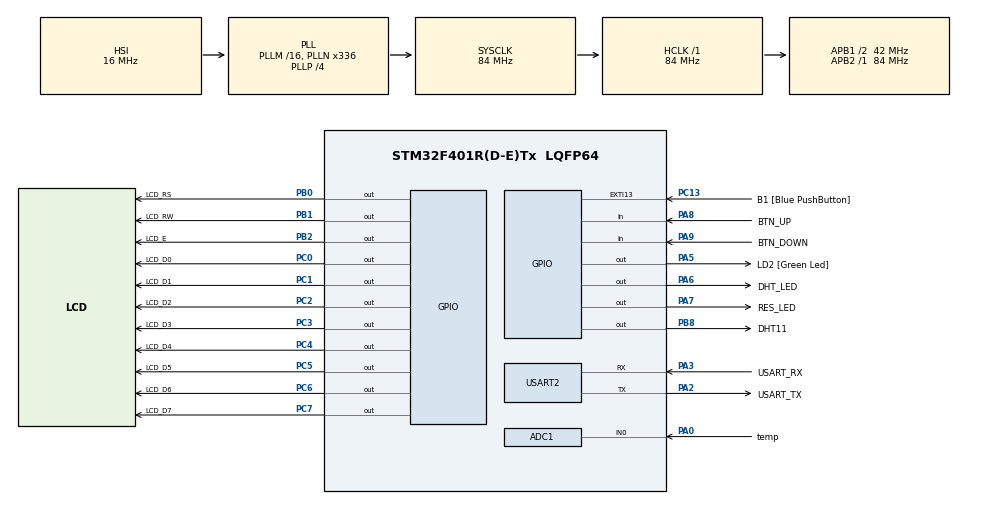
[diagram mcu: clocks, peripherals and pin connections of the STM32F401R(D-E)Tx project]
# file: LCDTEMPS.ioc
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ADC1.Channel-0\#ChannelRegularConversion=ADC_CHANNEL_0
ADC1.NbrOfConversionFlag=1
ADC1.Rank-0\#ChannelRegularConversion=1
ADC1.SamplingTime-0\#ChannelRegularConversion=ADC_SAMPLETIME_480CYCLES
ADC1.master=1
Mcu.Family=STM32F4
Mcu.Name=STM32F401R(D-E)Tx
Mcu.Package=LQFP64
NVIC.PriorityGroup=NVIC_PRIORITYGROUP_0
PA0-WKUP.GPIO_Label=temp
PA0-WKUP.Signal=ADCx_IN0
PA13.GPIO_Label=TMS
PA13.Mode=Serial_Wire
PA13.Signal=SYS_JTMS-SWDIO
PA14.GPIO_Label=TCK
PA14.Mode=Serial_Wire
PA14.Signal=SYS_JTCK-SWCLK
PA2.GPIO_Label=USART_TX
PA2.GPIO_Mode=GPIO_MODE_AF_PP
PA2.GPIO_PuPd=GPIO_NOPULL
PA2.GPIO_Speed=GPIO_SPEED_FREQ_LOW
PA2.Mode=Asynchronous
PA2.Signal=USART2_TX
PA3.GPIO_Label=USART_RX
PA3.GPIO_Mode=GPIO_MODE_AF_PP
PA3.GPIO_PuPd=GPIO_NOPULL
PA3.GPIO_Speed=GPIO_SPEED_FREQ_LOW
PA3.Mode=Asynchronous
PA3.Signal=USART2_RX
PA5.GPIO_Label=LD2 [Green Led]
PA5.GPIO_Mode=GPIO_MODE_OUTPUT_PP
PA5.GPIO_PuPd=GPIO_NOPULL
PA5.GPIO_Speed=GPIO_SPEED_FREQ_LOW
PA5.Signal=GPIO_Output
PA6.GPIO_Label=DHT_LED
PA6.Signal=GPIO_Output
PA7.GPIO_Label=RES_LED
PA7.Signal=GPIO_Output
PA8.GPIO_Label=BTN_UP
PA8.GPIO_PuPd=GPIO_PULLUP
PA8.Signal=GPIO_Input
PA9.GPIO_Label=BTN_DOWN
PA9.GPIO_PuPd=GPIO_PULLUP
PA9.Signal=GPIO_Input
PB0.GPIO_Label=LCD_RS
PB0.Signal=GPIO_Output
PB1.GPIO_Label=LCD_RW
PB1.Signal=GPIO_Output
PB2.GPIO_Label=LCD_E
PB2.Signal=GPIO_Output
PB3.GPIO_Label=SWO
PB3.Signal=SYS_JTDO-SWO
PB8.GPIO_Label=DHT11
PB8.GPIO_ModeDefaultOutputPP=GPIO_MODE_OUTPUT_OD
PB8.GPIO_PuPd=GPIO_PULLUP
PB8.Signal=GPIO_Output
PC0.GPIO_Label=LCD_D0
PC0.Signal=GPIO_Output
PC1.GPIO_Label=LCD_D1
PC1.Signal=GPIO_Output
PC13-ANTI_TAMP.GPIO_Label=B1 [Blue PushButton]
PC13-ANTI_TAMP.GPIO_ModeDefaultEXTI=GPIO_MODE_IT_FALLING
PC13-ANTI_TAMP.GPIO_PuPd=GPIO_NOPULL
PC13-ANTI_TAMP.Signal=GPXTI13
PC14-OSC32_IN.Mode=LSE-External-Oscillator
PC14-OSC32_IN.Signal=RCC_OSC32_IN
PC15-OSC32_OUT.Mode=LSE-External-Oscillator
PC15-OSC32_OUT.Signal=RCC_OSC32_OUT
PC2.GPIO_Label=LCD_D2
PC2.Signal=GPIO_Output
PC3.GPIO_Label=LCD_D3
PC3.Signal=GPIO_Output
PC4.GPIO_Label=LCD_D4
PC4.Signal=GPIO_Output
PC5.GPIO_Label=LCD_D5
PC5.Signal=GPIO_Output
PC6.GPIO_Label=LCD_D6
PC6.Signal=GPIO_Output
PC7.GPIO_Label=LCD_D7
PC7.Signal=GPIO_Output
PH0\ -\ OSC_IN.Mode=HSE-External-Clock-Source
PH0\ -\ OSC_IN.Signal=RCC_OSC_IN
PH1\ -\ OSC_OUT.Mode=HSE-External-Clock-Source
PH1\ -\ OSC_OUT.Signal=RCC_OSC_OUT
ProjectManager.HeapSize=0x200
ProjectManager.StackSize=0x400
ProjectManager.TargetToolchain=TrueSTUDIO
RCC.48MHZClocksFreq_Value=48000000
RCC.AHBFreq_Value=84000000
RCC.APB1CLKDivider=RCC_HCLK_DIV2
RCC.APB1Freq_Value=42000000
RCC.APB1TimFreq_Value=84000000
RCC.APB2Freq_Value=84000000
RCC.APB2TimFreq_Value=84000000
RCC.CortexFreq_Value=84000000
RCC.HCLKFreq_Value=84000000
RCC.HSE_VALUE=8000000
RCC.HSI_VALUE=16000000
RCC.PLLN=336
RCC.PLLP=RCC_PLLP_DIV4
RCC.PLLQ=7
RCC.SYSCLKFreq_VALUE=84000000
RCC.SYSCLKSource=RCC_SYSCLKSOURCE_PLLCLK
RCC.VCOOutputFreq_Value=336000000
SH.ADCx_IN0.0=ADC1_IN0,IN0
USART2.VirtualMode=VM_ASYNC
board=NUCLEO-F401RE

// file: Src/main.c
/**
  ******************************************************************************
  * @file           : main.c
  * @brief          : Main program body
  ******************************************************************************
  ** This notice applies to any and all portions of this file
  * that are not between comment pairs USER CODE BEGIN and
  * USER CODE END. Other portions of this file, whether
  * inserted by the user or by software development tools
  * are owned by their respective copyright owners.
  *
  * COPYRIGHT(c) 2018 STMicroelectronics
  *
  * Redistribution and use in source and binary forms, with or without modification,
  * are permitted provided that the following conditions are met:
  *   1. Redistributions of source code must retain the above copyright notice,
  *      this list of conditions and the following disclaimer.
  *   2. Redistributions in binary form must reproduce the above copyright notice,
  *      this list of conditions and the following disclaimer in the documentation
  *      and/or other materials provided with the distribution.
  *   3. Neither the name of STMicroelectronics nor the names of its contributors
  *      may be used to endorse or promote products derived from this software
  *      without specific prior written permission.
  *
  * THIS SOFTWARE IS PROVIDED BY THE COPYRIGHT HOLDERS AND CONTRIBUTORS "AS IS"
  * AND ANY EXPRESS OR IMPLIED WARRANTIES, INCLUDING, BUT NOT LIMITED TO, THE
  * IMPLIED WARRANTIES OF MERCHANTABILITY AND FITNESS FOR A PARTICULAR PURPOSE ARE
  * DISCLAIMED. IN NO EVENT SHALL THE COPYRIGHT HOLDER OR CONTRIBUTORS BE LIABLE
  * FOR ANY DIRECT, INDIRECT, INCIDENTAL, SPECIAL, EXEMPLARY, OR CONSEQUENTIAL
  * DAMAGES (INCLUDING, BUT NOT LIMITED TO, PROCUREMENT OF SUBSTITUTE GOODS OR
  * SERVICES; LOSS OF USE, DATA, OR PROFITS; OR BUSINESS INTERRUPTION) HOWEVER
  * CAUSED AND ON ANY THEORY OF LIABILITY, WHETHER IN CONTRACT, STRICT LIABILITY,
  * OR TORT (INCLUDING NEGLIGENCE OR OTHERWISE) ARISING IN ANY WAY OUT OF THE USE
  * OF THIS SOFTWARE, EVEN IF ADVISED OF THE POSSIBILITY OF SUCH DAMAGE.
  *
  ******************************************************************************
  */
#include "main.h"
#include "stm32f4xx_hal.h"

/* USER CODE BEGIN Includes */
#include "LCDHelper.h"
/* USER CODE END Includes */

ADC_HandleTypeDef hadc1;

UART_HandleTypeDef huart2;

/* USER CODE BEGIN PV */
/* Private variables ---------------------------------------------------------*/
TextLCDType lcd;
uint8_t pData[40];
uint16_t tempData;

uint16_t DHT11_timeout = 10000;
int16_t DHT11_buff_raw[41];
uint8_t DHT11_data[5];

int8_t set_temp = 0;
/* USER CODE END PV */

void SystemClock_Config(void);
static void MX_GPIO_Init(void);
static void MX_USART2_UART_Init(void);
static void MX_ADC1_Init(void);

/* USER CODE BEGIN PFP */
/* Private function prototypes -----------------------------------------------*/

int16_t Read_Analog_Temp(){
	HAL_ADC_Start(&hadc1);
	if(HAL_ADC_PollForConversion(&hadc1, HAL_MAX_DELAY) == HAL_OK){
		tempData = HAL_ADC_GetValue(&hadc1);
	}

	int16_t temp = 0;

	temp = tempData * 10000;

	temp = 3450*((1/(double)temp) - (1/298.15));
	return tempData;
}

int16_t Read_DHT11_bit_raw(){
	uint16_t cnt_low = 0;

	while(HAL_GPIO_ReadPin(DHT11_GPIO_Port, DHT11_Pin) == 0){
		cnt_low++;
		if(cnt_low >= DHT11_timeout)
			return DHT11_timeout;
	}
	uint16_t cnt_high = 0;

	while(HAL_GPIO_ReadPin(DHT11_GPIO_Port, DHT11_Pin) == 1){
		cnt_high++;
		if(cnt_high >= DHT11_timeout)
			return DHT11_timeout;
	}

	return cnt_high-cnt_low;
}

int16_t Read_DHT11(){
	uint16_t cnt;

	HAL_Delay(100);
	HAL_GPIO_WritePin(DHT11_GPIO_Port, DHT11_Pin, 0);
	HAL_Delay(20);
	HAL_GPIO_WritePin(DHT11_GPIO_Port, DHT11_Pin, 1);

	while(HAL_GPIO_ReadPin(DHT11_GPIO_Port, DHT11_Pin) == 1){
		cnt++;
		if(cnt > DHT11_timeout){
			return -99;
		}
	}

	for(uint8_t k = 0; k < 41; k++){
		DHT11_buff_raw[k] = Read_DHT11_bit_raw();

	}

	uint8_t val;

	for(uint8_t byte = 0; byte < 5; byte++){
		val = 0;
		for(uint8_t bit = 0; bit < 8; bit++){
			if(DHT11_buff_raw[(byte << 3)+bit+1] >= DHT11_timeout)
				return -99;

			val = val << 1;
			if(DHT11_buff_raw[(byte << 3)+bit+1] > 0){
				val = val | 0x01;
			}
		}
		DHT11_data[byte] = val;
	}

	uint8_t sum = 0;
	for(uint8_t byte = 0; byte < 4; byte++){
		sum = sum + DHT11_data[byte];
	}
	if(sum != DHT11_data[4]){
		return -99;
	}
	return DHT11_data[2];
}

void printNumber(int16_t number){

	int n = log10(number) + 1;
	int i;
	char numberArray[n];
	for ( i = 0; i < n; ++i, number /= 10 ){
		numberArray[i] = (0x30+(number % 10));
	}
	for(int x = n-1; x >= 0; x--)
		TextLCD_Putchar(&lcd, numberArray[x]);
}

void printData(){

	int16_t resValue = Read_Analog_Temp()/100;

	if(resValue < set_temp)
		HAL_GPIO_WritePin(GPIOA, DHT_LED_Pin, 1);
	else
		HAL_GPIO_WritePin(GPIOA, DHT_LED_Pin, 0);

	TextLCD_Position(&lcd, 0, 0);
	TextLCD_Puts(&lcd, "Res..Temp:");
	printNumber(resValue);

	int16_t * dht = Read_DHT11();
	int16_t dhtValue = dht+1;

	if(dhtValue < set_temp)
		HAL_GPIO_WritePin(GPIOA, RES_LED_Pin, 1);
	else
		HAL_GPIO_WritePin(GPIOA, RES_LED_Pin, 0);

	TextLCD_Position(&lcd, 0, 1);
	TextLCD_Puts(&lcd, "DHT..Temp:");
	printNumber(dhtValue);

}

/* USER CODE END PFP */

int main(void)
{

  /* MCU Configuration----------------------------------------------------------*/

  /* Reset of all peripherals, Initializes the Flash interface and the Systick. */
  HAL_Init();

  /* Configure the system clock */
  SystemClock_Config();

  /* Initialize all configured peripherals */
  MX_GPIO_Init();
  MX_USART2_UART_Init();
  MX_ADC1_Init();
  /* USER CODE BEGIN 2 */

  TextLCD_Init(&lcd,GPIOB, LCD_RS_Pin,LCD_RW_Pin, LCD_E_Pin, GPIOC, ( LCD_D0_Pin | LCD_D1_Pin |
		  LCD_D2_Pin | LCD_D3_Pin | LCD_D4_Pin | LCD_D5_Pin | LCD_D6_Pin | LCD_D7_Pin));
  /* USER CODE END 2 */

  /* Infinite loop */
  /* USER CODE BEGIN WHILE */
  while (1)
  {
	  if(!HAL_GPIO_ReadPin(GPIOA, BTN_DOWN_Pin))
		  set_temp--;
	  if(!HAL_GPIO_ReadPin(GPIOA, BTN_UP_Pin))
		  set_temp++;
	  sprintf(pData, "set_temp: %d\n\r", set_temp);
	  HAL_UART_Transmit(&huart2,pData, strlen(pData), 100);

	  printData();
  /* USER CODE END WHILE */

  }

}

void SystemClock_Config(void)
{

  RCC_OscInitTypeDef RCC_OscInitStruct;
  RCC_ClkInitTypeDef RCC_ClkInitStruct;

    /**Configure the main internal regulator output voltage
    */
  __HAL_RCC_PWR_CLK_ENABLE();

  __HAL_PWR_VOLTAGESCALING_CONFIG(PWR_REGULATOR_VOLTAGE_SCALE2);

    /**Initializes the CPU, AHB and APB busses clocks
    */
  RCC_OscInitStruct.OscillatorType = RCC_OSCILLATORTYPE_HSI;
  RCC_OscInitStruct.HSIState = RCC_HSI_ON;
  RCC_OscInitStruct.HSICalibrationValue = 16;
  RCC_OscInitStruct.PLL.PLLState = RCC_PLL_ON;
  RCC_OscInitStruct.PLL.PLLSource = RCC_PLLSOURCE_HSI;
  RCC_OscInitStruct.PLL.PLLM = 16;
  RCC_OscInitStruct.PLL.PLLN = 336;
  RCC_OscInitStruct.PLL.PLLP = RCC_PLLP_DIV4;
  RCC_OscInitStruct.PLL.PLLQ = 7;
  if (HAL_RCC_OscConfig(&RCC_OscInitStruct) != HAL_OK)
  {
    _Error_Handler(__FILE__, __LINE__);
  }

    /**Initializes the CPU, AHB and APB busses clocks
    */
  RCC_ClkInitStruct.ClockType = RCC_CLOCKTYPE_HCLK|RCC_CLOCKTYPE_SYSCLK
                              |RCC_CLOCKTYPE_PCLK1|RCC_CLOCKTYPE_PCLK2;
  RCC_ClkInitStruct.SYSCLKSource = RCC_SYSCLKSOURCE_PLLCLK;
  RCC_ClkInitStruct.AHBCLKDivider = RCC_SYSCLK_DIV1;
  RCC_ClkInitStruct.APB1CLKDivider = RCC_HCLK_DIV2;
  RCC_ClkInitStruct.APB2CLKDivider = RCC_HCLK_DIV1;

  if (HAL_RCC_ClockConfig(&RCC_ClkInitStruct, FLASH_LATENCY_2) != HAL_OK)
  {
    _Error_Handler(__FILE__, __LINE__);
  }

    /**Configure the Systick interrupt time
    */
  HAL_SYSTICK_Config(HAL_RCC_GetHCLKFreq()/1000);

    /**Configure the Systick
    */
  HAL_SYSTICK_CLKSourceConfig(SYSTICK_CLKSOURCE_HCLK);

  /* SysTick_IRQn interrupt configuration */
  HAL_NVIC_SetPriority(SysTick_IRQn, 0, 0);
}

/* ADC1 init function */
static void MX_ADC1_Init(void)
{

  ADC_ChannelConfTypeDef sConfig;

    /**Configure the global features of the ADC (Clock, Resolution, Data Alignment and number of conversion)
    */
  hadc1.Instance = ADC1;
  hadc1.Init.ClockPrescaler = ADC_CLOCK_SYNC_PCLK_DIV4;
  hadc1.Init.Resolution = ADC_RESOLUTION_12B;
  hadc1.Init.ScanConvMode = DISABLE;
  hadc1.Init.ContinuousConvMode = DISABLE;
  hadc1.Init.DiscontinuousConvMode = DISABLE;
  hadc1.Init.ExternalTrigConvEdge = ADC_EXTERNALTRIGCONVEDGE_NONE;
  hadc1.Init.ExternalTrigConv = ADC_SOFTWARE_START;
  hadc1.Init.DataAlign = ADC_DATAALIGN_RIGHT;
  hadc1.Init.NbrOfConversion = 1;
  hadc1.Init.DMAContinuousRequests = DISABLE;
  hadc1.Init.EOCSelection = ADC_EOC_SINGLE_CONV;
  if (HAL_ADC_Init(&hadc1) != HAL_OK)
  {
    _Error_Handler(__FILE__, __LINE__);
  }

    /**Configure for the selected ADC regular channel its corresponding rank in the sequencer and its sample time.
    */
  sConfig.Channel = ADC_CHANNEL_0;
  sConfig.Rank = 1;
  sConfig.SamplingTime = ADC_SAMPLETIME_480CYCLES;
  if (HAL_ADC_ConfigChannel(&hadc1, &sConfig) != HAL_OK)
  {
    _Error_Handler(__FILE__, __LINE__);
  }

}

/* USART2 init function */
static void MX_USART2_UART_Init(void)
{

  huart2.Instance = USART2;
  huart2.Init.BaudRate = 115200;
  huart2.Init.WordLength = UART_WORDLENGTH_8B;
  huart2.Init.StopBits = UART_STOPBITS_1;
  huart2.Init.Parity = UART_PARITY_NONE;
  huart2.Init.Mode = UART_MODE_TX_RX;
  huart2.Init.HwFlowCtl = UART_HWCONTROL_NONE;
  huart2.Init.OverSampling = UART_OVERSAMPLING_16;
  if (HAL_UART_Init(&huart2) != HAL_OK)
  {
    _Error_Handler(__FILE__, __LINE__);
  }

}

/** Configure pins as
        * Analog
        * Input
        * Output
        * EVENT_OUT
        * EXTI
*/
static void MX_GPIO_Init(void)
{

  GPIO_InitTypeDef GPIO_InitStruct;

  /* GPIO Ports Clock Enable */
  __HAL_RCC_GPIOC_CLK_ENABLE();
  __HAL_RCC_GPIOH_CLK_ENABLE();
  __HAL_RCC_GPIOA_CLK_ENABLE();
  __HAL_RCC_GPIOB_CLK_ENABLE();

  /*Configure GPIO pin Output Level */
  HAL_GPIO_WritePin(GPIOC, LCD_D0_Pin|LCD_D1_Pin|LCD_D2_Pin|LCD_D3_Pin
                          |LCD_D4_Pin|LCD_D5_Pin|LCD_D6_Pin|LCD_D7_Pin, GPIO_PIN_RESET);

  /*Configure GPIO pin Output Level */
  HAL_GPIO_WritePin(GPIOA, LD2_Pin|DHT_LED_Pin|RES_LED_Pin, GPIO_PIN_RESET);

  /*Configure GPIO pin Output Level */
  HAL_GPIO_WritePin(GPIOB, LCD_RS_Pin|LCD_RW_Pin|LCD_E_Pin|DHT11_Pin, GPIO_PIN_RESET);

  /*Configure GPIO pin : B1_Pin */
  GPIO_InitStruct.Pin = B1_Pin;
  GPIO_InitStruct.Mode = GPIO_MODE_IT_FALLING;
  GPIO_InitStruct.Pull = GPIO_NOPULL;
  HAL_GPIO_Init(B1_GPIO_Port, &GPIO_InitStruct);

  /*Configure GPIO pins : LCD_D0_Pin LCD_D1_Pin LCD_D2_Pin LCD_D3_Pin
                           LCD_D4_Pin LCD_D5_Pin LCD_D6_Pin LCD_D7_Pin */
  GPIO_InitStruct.Pin = LCD_D0_Pin|LCD_D1_Pin|LCD_D2_Pin|LCD_D3_Pin
                          |LCD_D4_Pin|LCD_D5_Pin|LCD_D6_Pin|LCD_D7_Pin;
  GPIO_InitStruct.Mode = GPIO_MODE_OUTPUT_PP;
  GPIO_InitStruct.Pull = GPIO_NOPULL;
  GPIO_InitStruct.Speed = GPIO_SPEED_FREQ_LOW;
  HAL_GPIO_Init(GPIOC, &GPIO_InitStruct);

  /*Configure GPIO pins : LD2_Pin DHT_LED_Pin RES_LED_Pin */
  GPIO_InitStruct.Pin = LD2_Pin|DHT_LED_Pin|RES_LED_Pin;
  GPIO_InitStruct.Mode = GPIO_MODE_OUTPUT_PP;
  GPIO_InitStruct.Pull = GPIO_NOPULL;
  GPIO_InitStruct.Speed = GPIO_SPEED_FREQ_LOW;
  HAL_GPIO_Init(GPIOA, &GPIO_InitStruct);

  /*Configure GPIO pins : LCD_RS_Pin LCD_RW_Pin LCD_E_Pin */
  GPIO_InitStruct.Pin = LCD_RS_Pin|LCD_RW_Pin|LCD_E_Pin;
  GPIO_InitStruct.Mode = GPIO_MODE_OUTPUT_PP;
  GPIO_InitStruct.Pull = GPIO_NOPULL;
  GPIO_InitStruct.Speed = GPIO_SPEED_FREQ_LOW;
  HAL_GPIO_Init(GPIOB, &GPIO_InitStruct);

  /*Configure GPIO pins : BTN_UP_Pin BTN_DOWN_Pin */
  GPIO_InitStruct.Pin = BTN_UP_Pin|BTN_DOWN_Pin;
  GPIO_InitStruct.Mode = GPIO_MODE_INPUT;
  GPIO_InitStruct.Pull = GPIO_PULLUP;
  HAL_GPIO_Init(GPIOA, &GPIO_InitStruct);

  /*Configure GPIO pin : DHT11_Pin */
  GPIO_InitStruct.Pin = DHT11_Pin;
  GPIO_InitStruct.Mode = GPIO_MODE_OUTPUT_OD;
  GPIO_InitStruct.Pull = GPIO_PULLUP;
  GPIO_InitStruct.Speed = GPIO_SPEED_FREQ_LOW;
  HAL_GPIO_Init(DHT11_GPIO_Port, &GPIO_InitStruct);

}

void _Error_Handler(char *file, int line)
{
  while(1)
  {
  }
}

/************************ (C) COPYRIGHT STMicroelectronics *****END OF FILE****/
